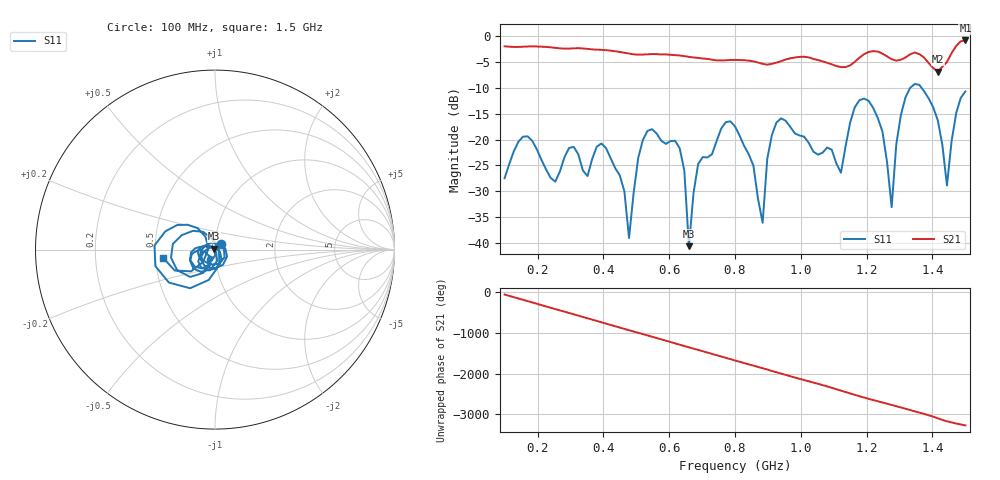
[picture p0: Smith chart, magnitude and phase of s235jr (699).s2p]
! NanoVNA-App
! Date: 2025-09-25 15:09:36
! Start: 100MHz Stop: 1,5GHz Points: 101
! S-Parameter data: F S11 S21 S12 S22
# Hz S RI R 50
!  Frequency  S11_Real  S11_Imag  S21_Real  S21_Imag  S12_Real  S12_Imag  S22_Real  S22_Imag
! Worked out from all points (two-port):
!   101 points, 100 MHz to 1.5 GHz, reference 50 ohm
!   highest |S21| = -0.83 dB at 1.5 GHz (marker M1); lowest = -6.9 dB at 1.416 GHz (marker M2)
!   |S21| within 3 dB of the highest: start of sweep to 643 MHz; 1.185 GHz to 1.26 GHz (74.89 MHz wide, 6.13 % of centre) (the widest 2 of 4)
!   lowest |S11| = -40.6 dB at 660 MHz (marker M3), VSWR 1.02, Z = 49.2 + j0.535 ohm
!   |S11| at or under -10 dB: start of sweep to 1.332 GHz; 1.367 GHz to end of sweep
!   S12 and S22 are empty: the file has one direction only
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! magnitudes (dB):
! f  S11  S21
! 100 MHz  -27.5  -2.0
! 156 MHz  -19.4  -2.0
! 338 MHz  -26.0  -2.4
! 408 MHz  -21.6  -2.7
! 478 MHz  -39.0  -3.4
! 520 MHz  -20.1  -3.6
! 576 MHz  -20.2  -3.5
! 632 MHz  -21.7  -3.7
! 660 MHz  -40.6  -4.0
! 688 MHz  -24.7  -4.2
! 800 MHz  -17.5  -4.6
! 884 MHz  -36.1  -5.3
! 926 MHz  -16.7  -5.1
! 1.038 GHz  -22.3  -4.4
! 1.122 GHz  -26.4  -6.0
! 1.206 GHz  -12.5  -3.1
! 1.276 GHz  -33.1  -4.5
! 1.29 GHz  -20.9  -4.7
! 1.332 GHz  -10.0  -3.5
! 1.416 GHz  -16.3  -6.9
! 1.444 GHz  -28.9  -5.0
! 1.5 GHz  -10.7  -0.8
